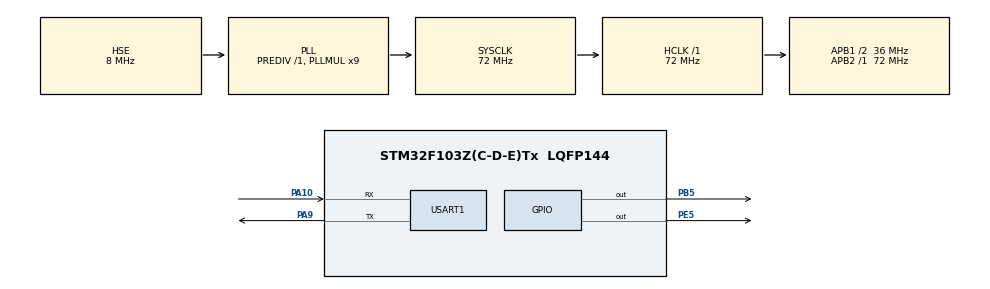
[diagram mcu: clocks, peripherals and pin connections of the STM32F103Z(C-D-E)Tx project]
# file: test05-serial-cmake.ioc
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Mcu.Family=STM32F1
Mcu.Name=STM32F103Z(C-D-E)Tx
Mcu.Package=LQFP144
NVIC.PriorityGroup=NVIC_PRIORITYGROUP_4
NVIC.USART1_IRQn=true\:0\:0\:false\:false\:true\:true\:true
OSC_IN.Mode=HSE-External-Oscillator
OSC_IN.Signal=RCC_OSC_IN
OSC_OUT.Mode=HSE-External-Oscillator
OSC_OUT.Signal=RCC_OSC_OUT
PA10.Mode=Asynchronous
PA10.Signal=USART1_RX
PA13.Mode=Serial_Wire
PA13.Signal=SYS_JTMS-SWDIO
PA14.Mode=Serial_Wire
PA14.Signal=SYS_JTCK-SWCLK
PA9.Mode=Asynchronous
PA9.Signal=USART1_TX
PB5.GPIO_PuPd=GPIO_NOPULL
PB5.PinState=GPIO_PIN_SET
PB5.Signal=GPIO_Output
PE5.GPIO_PuPd=GPIO_NOPULL
PE5.PinState=GPIO_PIN_SET
PE5.Signal=GPIO_Output
ProjectManager.HeapSize=0x200
ProjectManager.StackSize=0x400
ProjectManager.TargetToolchain=STM32CubeIDE
RCC.AHBFreq_Value=72000000
RCC.APB1CLKDivider=RCC_HCLK_DIV2
RCC.APB1Freq_Value=36000000
RCC.APB1TimFreq_Value=72000000
RCC.APB2Freq_Value=72000000
RCC.APB2TimFreq_Value=72000000
RCC.HCLKFreq_Value=72000000
RCC.PLLMUL=RCC_PLL_MUL9
RCC.PLLSourceVirtual=RCC_PLLSOURCE_HSE
RCC.SYSCLKFreq_VALUE=72000000
RCC.SYSCLKSource=RCC_SYSCLKSOURCE_PLLCLK
RCC.USBFreq_Value=72000000
USART1.VirtualMode=VM_ASYNC
board=custom

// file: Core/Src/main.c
/* USER CODE BEGIN Header */
/**
  ******************************************************************************
  * @file           : main.c
  * @brief          : Main program body
  ******************************************************************************
  * @attention
  *
  * <h2><center>&copy; Copyright (c) 2021 STMicroelectronics.
  * All rights reserved.</center></h2>
  *
  * This software component is licensed by ST under BSD 3-Clause license,
  * the "License"; You may not use this file except in compliance with the
  * License. You may obtain a copy of the License at:
  *                        opensource.org/licenses/BSD-3-Clause
  *
  ******************************************************************************
  */
/* USER CODE END Header */
#include "main.h"
#include "usart.h"
#include "gpio.h"

void SystemClock_Config(void);

/* USER CODE BEGIN 0 */
#define LED1_ON() HAL_GPIO_WritePin(GPIOB, GPIO_PIN_5, GPIO_PIN_RESET);
#define LED1_OFF() HAL_GPIO_WritePin(GPIOB, GPIO_PIN_5, GPIO_PIN_SET);
#define LED2_ON() HAL_GPIO_WritePin(GPIOE, GPIO_PIN_5, GPIO_PIN_RESET);
#define LED2_OFF() HAL_GPIO_WritePin(GPIOE, GPIO_PIN_5, GPIO_PIN_SET);

uint8_t Tx_str1[] = "hello world!\r\n";
uint8_t Tx_str2[] = "LED1 Open!\r\n";
uint8_t Tx_str3[] = "LED1 Closed!\r\n";
uint8_t Rx_dat = 0;

void HAL_UART_RxCpltCallback(UART_HandleTypeDef *huart)
{
    if (huart->Instance == USART1)
    {
        if (Rx_dat == 0xa1)
        {
            LED1_ON();
            LED2_ON();
            HAL_UART_Transmit(&huart1, Tx_str2, sizeof(Tx_str2), 10000);
            LED2_OFF();
        }
        else
        {
            LED1_OFF();
            LED2_ON();
            HAL_UART_Transmit(&huart1, Tx_str3, sizeof(Tx_str3), 10000);
            LED2_OFF();
        }
        HAL_UART_Receive_IT(&huart1, &Rx_dat, 1);
    }
}

/* USER CODE END 0 */

int main(void)
{

  /* MCU Configuration--------------------------------------------------------*/

  /* Reset of all peripherals, Initializes the Flash interface and the Systick. */
  HAL_Init();

  /* Configure the system clock */
  SystemClock_Config();

  /* Initialize all configured peripherals */
  MX_GPIO_Init();
  MX_USART1_UART_Init();
  /* USER CODE BEGIN 2 */
    LED2_ON();
    HAL_UART_Transmit(&huart1, Tx_str1, sizeof(Tx_str1), 10000);
    LED2_OFF();

    HAL_UART_Receive_IT(&huart1, &Rx_dat, 1);
  /* USER CODE END 2 */

  /* Infinite loop */
  while (1)
  {

  }
}

void SystemClock_Config(void)
{
  RCC_OscInitTypeDef RCC_OscInitStruct = {0};
  RCC_ClkInitTypeDef RCC_ClkInitStruct = {0};

  /** Initializes the RCC Oscillators according to the specified parameters
  * in the RCC_OscInitTypeDef structure.
  */
  RCC_OscInitStruct.OscillatorType = RCC_OSCILLATORTYPE_HSE;
  RCC_OscInitStruct.HSEState = RCC_HSE_ON;
  RCC_OscInitStruct.HSEPredivValue = RCC_HSE_PREDIV_DIV1;
  RCC_OscInitStruct.HSIState = RCC_HSI_ON;
  RCC_OscInitStruct.PLL.PLLState = RCC_PLL_ON;
  RCC_OscInitStruct.PLL.PLLSource = RCC_PLLSOURCE_HSE;
  RCC_OscInitStruct.PLL.PLLMUL = RCC_PLL_MUL9;
  if (HAL_RCC_OscConfig(&RCC_OscInitStruct) != HAL_OK)
  {
    Error_Handler();
  }
  /** Initializes the CPU, AHB and APB buses clocks
  */
  RCC_ClkInitStruct.ClockType = RCC_CLOCKTYPE_HCLK|RCC_CLOCKTYPE_SYSCLK
                              |RCC_CLOCKTYPE_PCLK1|RCC_CLOCKTYPE_PCLK2;
  RCC_ClkInitStruct.SYSCLKSource = RCC_SYSCLKSOURCE_PLLCLK;
  RCC_ClkInitStruct.AHBCLKDivider = RCC_SYSCLK_DIV1;
  RCC_ClkInitStruct.APB1CLKDivider = RCC_HCLK_DIV2;
  RCC_ClkInitStruct.APB2CLKDivider = RCC_HCLK_DIV1;

  if (HAL_RCC_ClockConfig(&RCC_ClkInitStruct, FLASH_LATENCY_2) != HAL_OK)
  {
    Error_Handler();
  }
}

void Error_Handler(void)
{
  __disable_irq();
  while (1)
  {
  }
}

/************************ (C) COPYRIGHT STMicroelectronics *****END OF FILE****/
